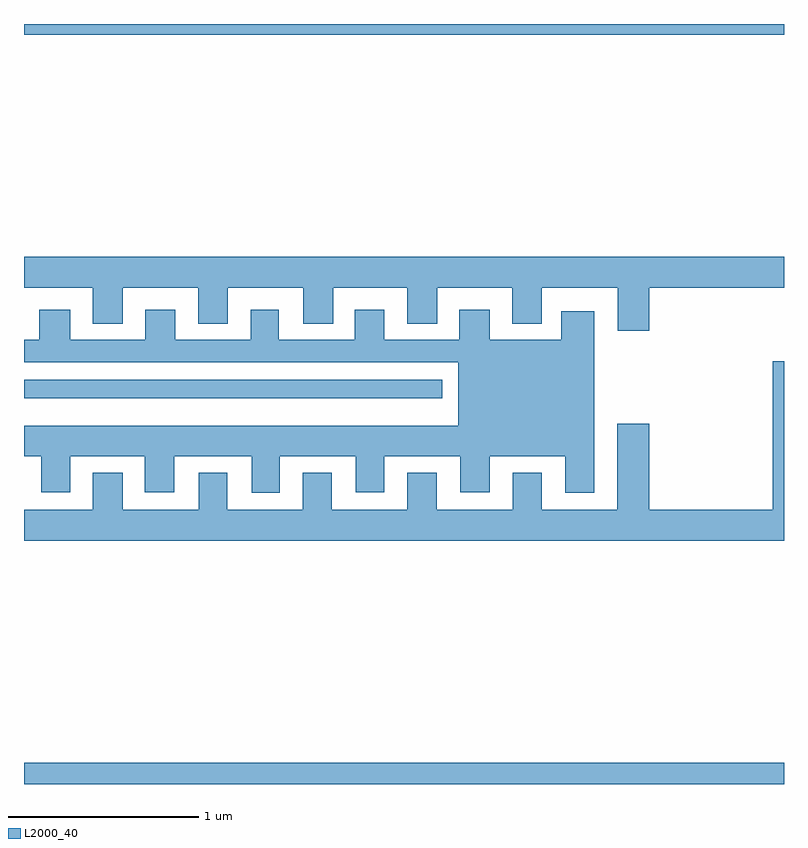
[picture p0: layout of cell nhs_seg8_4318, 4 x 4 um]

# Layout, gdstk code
import gdstk
lib = gdstk.Library(unit=1e-6, precision=1e-09)
def R(c, l, rs):  # rectangles x0, y0, x1, y1
    for r in rs: c.add(gdstk.rectangle(r[:2], r[2:], *l))
def P(c, l, *ps):  # polygons
    for p in ps: c.add(gdstk.Polygon(p, *l))
L2000_40 = (2000, 40)

nhs_seg8_4318 = lib.new_cell('nhs_seg8_4318')
R(nhs_seg8_4318, L2000_40, [(375,1101.9,379,1102.012), (375,1103.93,377.2,1104.027), (375,1105.844,379,1105.9)])
P(nhs_seg8_4318, L2000_40, [(378.29,1104.512),(379,1104.512),(379,1104.676),(375,1104.676),(375,1104.512),(375.362,1104.512),(375.362,1104.323),(375.52,1104.323),(375.52,1104.512),(375.917,1104.512),(375.917,1104.323),(376.072,1104.323),(376.072,1104.512),(376.469,1104.512),(376.469,1104.323),(376.627,1104.323),(376.627,1104.512),(377.018,1104.512),(377.018,1104.323),(377.176,1104.323),(377.176,1104.512),(377.57,1104.512),(377.57,1104.323),(377.725,1104.323),(377.725,1104.512),(378.125,1104.512),(378.125,1104.285),(378.29,1104.285)],
  [(376.345,1103.624),(376.745,1103.624),(376.745,1103.436),(376.897,1103.436),(376.897,1103.624),(377.297,1103.624),(377.297,1103.436),(377.452,1103.436),(377.452,1103.624),(377.849,1103.624),(377.849,1103.433),(378.001,1103.433),(378.001,1104.388),(377.828,1104.388),(377.828,1104.238),(377.452,1104.238),(377.452,1104.397),(377.291,1104.397),(377.291,1104.238),(376.897,1104.238),(376.897,1104.397),(376.742,1104.397),(376.742,1104.238),(376.342,1104.238),(376.342,1104.397),(376.193,1104.397),(376.193,1104.238),(375.796,1104.238),(375.796,1104.397),(375.638,1104.397),(375.638,1104.238),(375.244,1104.238),(375.244,1104.397),(375.08,1104.397),(375.08,1104.238),(375,1104.238),(375,1104.119),(377.285,1104.119),(377.285,1103.785),(375,1103.785),(375,1103.624),(375.092,1103.624),(375.092,1103.436),(375.244,1103.436),(375.244,1103.624),(375.635,1103.624),(375.635,1103.436),(375.79,1103.436),(375.79,1103.624),(376.199,1103.624),(376.199,1103.433),(376.345,1103.433)],
  [(379,1104.124),(378.941,1104.124),(378.941,1103.344),(378.29,1103.344),(378.29,1103.797),(378.122,1103.797),(378.122,1103.344),(377.725,1103.344),(377.725,1103.539),(377.573,1103.539),(377.573,1103.344),(377.173,1103.344),(377.173,1103.539),(377.018,1103.539),(377.018,1103.344),(376.621,1103.344),(376.621,1103.539),(376.466,1103.539),(376.466,1103.344),(376.069,1103.344),(376.069,1103.539),(375.92,1103.539),(375.92,1103.344),(375.52,1103.344),(375.52,1103.539),(375.362,1103.539),(375.362,1103.344),(375,1103.344),(375,1103.18),(379,1103.18)])

lib.write_gds('nhs_seg8_4318.gds')
